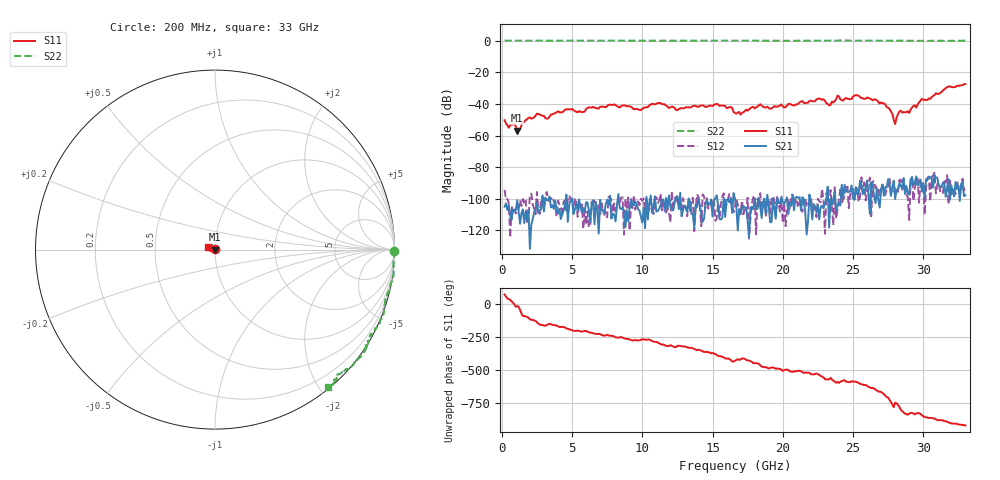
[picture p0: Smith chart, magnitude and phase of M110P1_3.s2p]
# GHZ S RI R 50
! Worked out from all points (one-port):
!   329 points, 200 MHz to 33 GHz, reference 50 ohm
!   lowest |S11| = -57.0 dB at 1.1 GHz (marker M1), VSWR 1.00, Z = 50.1 - j0.0341 ohm
!   |S11| at or under -10 dB: start of sweep to end of sweep
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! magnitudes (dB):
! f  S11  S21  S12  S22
! 200 MHz  -50.3  -105.0  -94.4  0.0
! 1.1 GHz  -57.0  -100.9  -108.9  0.0
! 2.5 GHz  -46.2  -102.2  -95.7  0.0
! 3.2 GHz  -49.3  -100.8  -95.6  0.0
! 4.6 GHz  -43.5  -97.3  -107.4  0.0
! 5.7 GHz  -45.2  -108.8  -103.5  0.0
! 9.9 GHz  -44.0  -111.2  -99.9  -0.1
! 11.2 GHz  -39.4  -106.3  -101.2  -0.1
! 12.5 GHz  -44.0  -98.3  -101.7  -0.1
! 15.3 GHz  -40.0  -97.8  -112.4  0.1
! 16.6 GHz  -45.8  -100.2  -104.9  0.0
! 22.1 GHz  -38.4  -113.1  -105.8  0.0
! 23.3 GHz  -40.9  -118.2  -105.5  0.0
! 23.9 GHz  -34.7  -104.6  -106.8  0.0
! 24.3 GHz  -37.9  -99.6  -100.1  0.1
! 25.2 GHz  -34.4  -92.7  -92.9  0.1
! 27.6 GHz  -43.3  -90.6  -86.5  0.0
! 28 GHz  -52.7  -100.2  -93.3  -0.1
! 28.4 GHz  -44.3  -92.0  -87.9  -0.1
! 29 GHz  -45.7  -97.4  -113.4  -0.1
! 29.9 GHz  -36.8  -95.4  -90.1  -0.2
! 33 GHz  -27.5  -97.7  -94.3  -0.1
